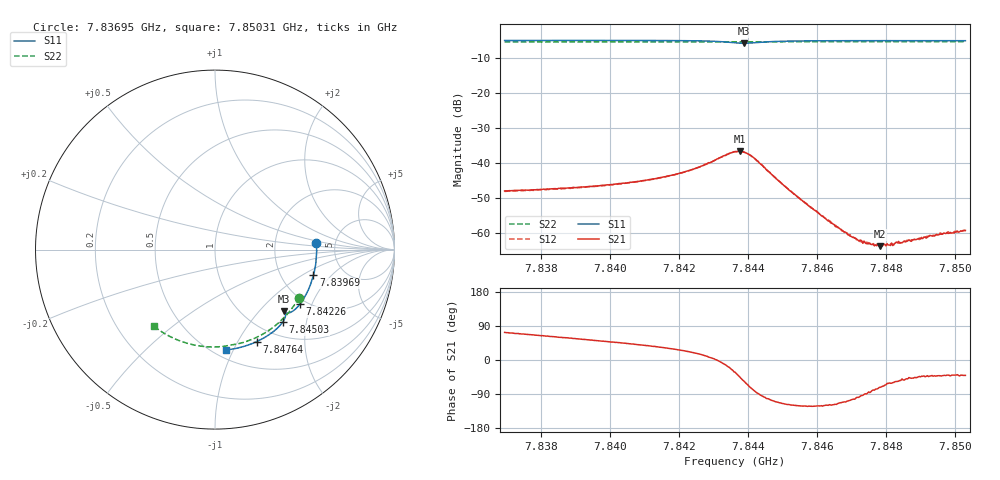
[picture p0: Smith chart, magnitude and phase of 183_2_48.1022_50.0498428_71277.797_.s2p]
#  HZ  S  RI  R  50.00
! Rohde & Schwarz Vector Network Analyzer
! Rohde-Schwarz,ZNB20-2Port,1311601062101988,3.16
! Created: UTC 12/23/2023, 3:53:00 AM
! freq[Hz]  re:S11  im:S11  re:S21  im:S21  re:S12  im:S12  re:S22  im:S22
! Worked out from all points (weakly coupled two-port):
!   401 points, 7.83695 GHz to 7.85031 GHz, reference 50 ohm
!   highest |S21| = -36.67 dB at 7.84376 GHz (marker M1); lowest = -63.9 dB at 7.84784 GHz (marker M2)
!   lowest |S11| = -5.7 dB at 7.8439 GHz (marker M3), VSWR 3.14, Z = 73.7 - j69.3 ohm
!   |S11| at or under -10 dB: nowhere
!   |S22| runs from -5.4 to -5.3 dB; largest |S21 - S12| = 0.00034
!   S11 on the Smith chart (normalised r, x): 7.83695 GHz: 3.56, +0.41; 7.83969 GHz: 3.03, -1.27; 7.84226 GHz: 1.85, -1.64; 7.84503 GHz: 1.26, -1.47; 7.84764 GHz: 0.80, -1.20; 7.85031 GHz: 0.57, -0.94
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7.836953e9  0.5648 0.0389  0.00117 0.00377  0.00122 0.00369  0.4687 -0.2672
7.83919e9  0.5562 -0.1095  0.00259 0.00367  0.00257 0.00359  0.3731 -0.3908
7.839691e9  0.5487 -0.1423  0.00295 0.00362  0.00291 0.00362  0.3471 -0.4144
7.841427e9  0.5059 -0.2529  0.00504 0.00341  0.00498 0.0034  0.2459 -0.482
7.842262e9  0.4737 -0.3033  0.00705 0.00293  0.00705 0.00291  0.1923 -0.5058
7.842729e9  0.4498 -0.3298  0.00902 0.00198  0.00897 0.00201  0.161 -0.5164
7.84313e9  0.424 -0.3482  0.0114 -0.00026  0.0113 -0.000207  0.1338 -0.5237
7.843631e9  0.389 -0.3516  0.0123 -0.00771  0.0121 -0.00768  0.1004 -0.5298
7.843764e9  0.3849 -0.3475  0.0104 -0.0103  0.0105 -0.0102  0.0917 -0.531
7.843898e9  0.3848 -0.3447  0.00781 -0.0118  0.008 -0.0117  0.0835 -0.5324
7.844165e9  0.391 -0.349  0.00218 -0.0117  0.00222 -0.0116  0.0663 -0.5358
7.845033e9  0.3764 -0.4052  -0.00203 -0.00434  -0.00203 -0.00438  0.00588 -0.5425
7.845868e9  0.335 -0.4485  -0.00119 -0.00189  -0.0012 -0.00186  -0.0529 -0.541
7.846469e9  0.3016 -0.4738  -0.000627 -0.00117  -0.000606 -0.00117  -0.095 -0.5356
7.847104e9  0.2648 -0.4964  -0.000193 -0.000805  -0.000212 -0.000811  -0.1384 -0.5263
7.847304e9  0.2528 -0.5027  -5.11e-05 -0.000758  -5.94e-05 -0.000733  -0.152 -0.5228
7.847638e9  0.2325 -0.5126  0.000127 -0.000663  0.00013 -0.000681  -0.1746 -0.516
7.847838e9  0.2202 -0.518  0.000196 -0.000606  0.0002 -0.000641  -0.1879 -0.5114
7.848105e9  0.2035 -0.5249  0.000326 -0.000577  0.00034 -0.000584  -0.2054 -0.5047
7.848272e9  0.1929 -0.5288  0.000382 -0.000591  0.000379 -0.000566  -0.2162 -0.5002
7.849541e9  0.1116 -0.5514  0.000699 -0.000614  0.000699 -0.000623  -0.2951 -0.4591
7.850309e9  0.0611 -0.559  0.000813 -0.000698  0.000806 -0.000702  -0.3391 -0.4282
